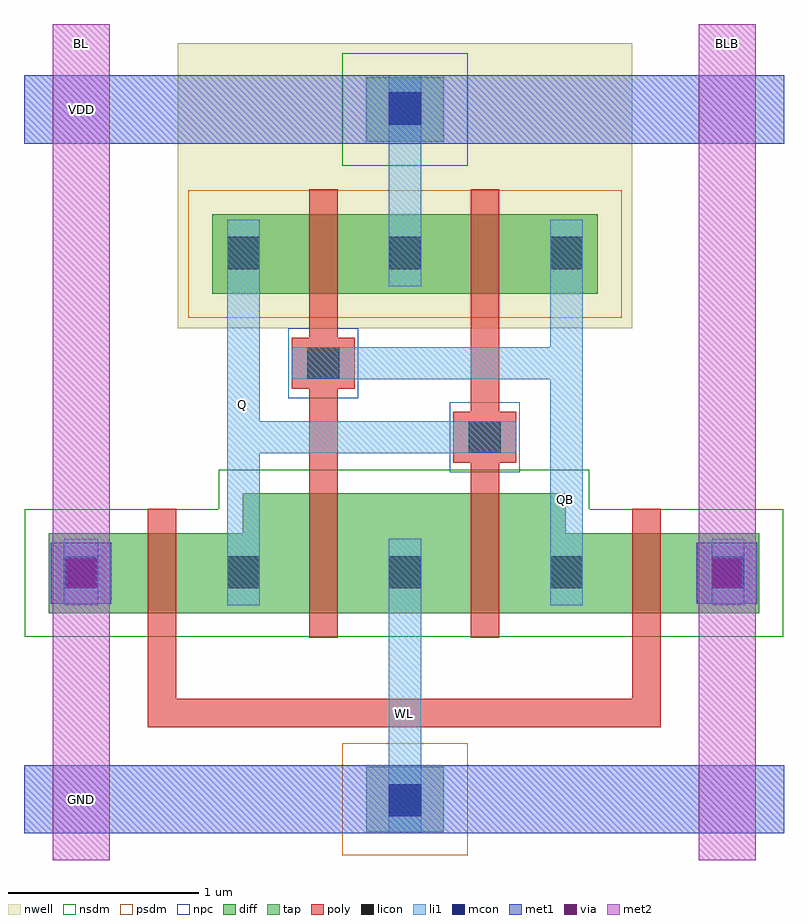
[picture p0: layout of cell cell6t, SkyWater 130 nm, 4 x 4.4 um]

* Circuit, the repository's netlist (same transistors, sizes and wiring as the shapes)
* NGSPICE file created from cell6t.ext - technology: sky130A

.subckt cell6t BL BLB WL VDD GND Q QB
X0 BLB WL QB GND sky130_fd_pr__nfet_01v8 ad=0.2184 pd=1.88 as=0.1837 ps=1.33 w=0.42 l=0.15
X1 GND QB Q GND sky130_fd_pr__nfet_01v8 ad=0.2205 pd=1.33 as=0.1837 ps=1.33 w=0.63 l=0.15
X2 VDD QB Q VDD sky130_fd_pr__pfet_01v8 ad=0.147 pd=1.12 as=0.2142 ps=1.86 w=0.42 l=0.15
X3 QB Q VDD VDD sky130_fd_pr__pfet_01v8 ad=0.2184 pd=1.88 as=0.147 ps=1.12 w=0.42 l=0.15
X4 Q WL BL GND sky130_fd_pr__nfet_01v8 ad=0.1837 pd=1.33 as=0.2184 ps=1.88 w=0.42 l=0.15
X5 QB Q GND GND sky130_fd_pr__nfet_01v8 ad=0.1837 pd=1.33 as=0.2205 ps=1.33 w=0.63 l=0.15
.ends

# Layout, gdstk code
import gdstk
lib = gdstk.Library(unit=1e-6, precision=1e-09)
def R(c, l, rs):  # rectangles x0, y0, x1, y1
    for r in rs: c.add(gdstk.rectangle(r[:2], r[2:], *l))
def A(c, l, x, y, w, h, nx, ny, dx, dy):  # array of equal rectangles
    R(c, l, [(x+i*dx, y+j*dy, x+i*dx+w, y+j*dy+h) for i in range(nx) for j in range(ny)])
nwell = (64, 20)
diff = (65, 20)
tap = (65, 44)
poly = (66, 20)
licon = (66, 44)
li1 = (67, 20)
mcon = (67, 44)
met1 = (68, 20)
via = (68, 44)
met2 = (69, 20)
nsdm = (93, 44)
psdm = (94, 20)
npc = (95, 20)

cell6t = lib.new_cell('cell6t')
R(cell6t, nwell, [(0.51,1.5,2.9,3)])
R(cell6t, diff, [(-0.17,0,3.57,0.42), (0.85,0.42,2.55,0.63), (0.69,1.68,2.72,2.1)])
R(cell6t, tap, [(1.5,-1.15,1.91,-0.81), (1.5,2.48,1.91,2.82)])
R(cell6t, poly, [(0.35,-0.6,3.05,-0.45), (0.35,-0.45,0.5,0.55), (2.9,-0.45,3.05,0.55), (1.2,-0.13,1.35,1.18), (2.05,-0.13,2.2,0.79), (1.96,0.79,2.29,1.06), (2.05,1.06,2.2,2.23), (1.11,1.18,1.44,1.45), (1.2,1.45,1.35,2.23)])
A(cell6t, licon, 0.77, 0.13, 0.17, 0.17, 4, 1, 0.85, 0)
A(cell6t, licon, 0.77, 1.81, 0.17, 0.17, 3, 1, 0.85, 0)
R(cell6t, licon, [(1.62,-1.07,1.79,-0.9), (-0.085,0.13,0.085,0.3), (2.04,0.84,2.21,1.01), (1.19,1.23,1.36,1.4), (1.62,2.57,1.79,2.74)])
R(cell6t, li1, [(1.62,-1.16,1.79,0.39), (-0.09,0.04,0.09,0.39), (0.77,0.04,0.94,0.84), (2.47,0.04,2.64,1.23), (3.32,0.04,3.49,0.39), (0.77,0.84,2.29,1.01), (0.77,1.01,0.94,2.07), (1.11,1.23,2.64,1.4), (2.47,1.4,2.64,2.07), (1.62,1.72,1.79,2.83)])
R(cell6t, mcon, [(1.62,-1.07,1.79,-0.9), (-0.085,0.13,0.085,0.3), (3.32,0.13,3.49,0.3), (1.62,2.57,1.79,2.74)])
R(cell6t, met1, [(-0.3,-1.16,3.7,-0.8), (-0.16,0.05,0.16,0.37), (3.24,0.05,3.56,0.37), (-0.3,2.47,3.7,2.83)])
R(cell6t, via, [(-0.075,0.135,0.075,0.285), (3.325,0.135,3.475,0.285)])
R(cell6t, met2, [(-0.15,-1.3,0.15,3.1), (3.25,-1.3,3.55,3.1)])
R(cell6t, nsdm, [(-0.295,-0.125,3.695,0.545), (0.725,0.545,2.675,0.755), (1.375,2.355,2.035,2.945)])
R(cell6t, psdm, [(1.375,-1.275,2.035,-0.685), (0.565,1.555,2.845,2.225)])
R(cell6t, npc, [(1.94,0.74,2.31,1.11), (1.09,1.13,1.46,1.5)])
cell6t.add(gdstk.Label('BL', (0,3), layer=69, texttype=5))
cell6t.add(gdstk.Label('BLB', (3.4,3), layer=69, texttype=5))
cell6t.add(gdstk.Label('WL', (1.7,-0.53), layer=66, texttype=5))
cell6t.add(gdstk.Label('VDD', (0,2.65), layer=68, texttype=5))
cell6t.add(gdstk.Label('GND', (0,-0.98), layer=68, texttype=5))
cell6t.add(gdstk.Label('Q', (0.85,1.1), layer=67, texttype=5))
cell6t.add(gdstk.Label('QB', (2.55,0.6), layer=67, texttype=5))

lib.write_gds('cell6t.gds')
